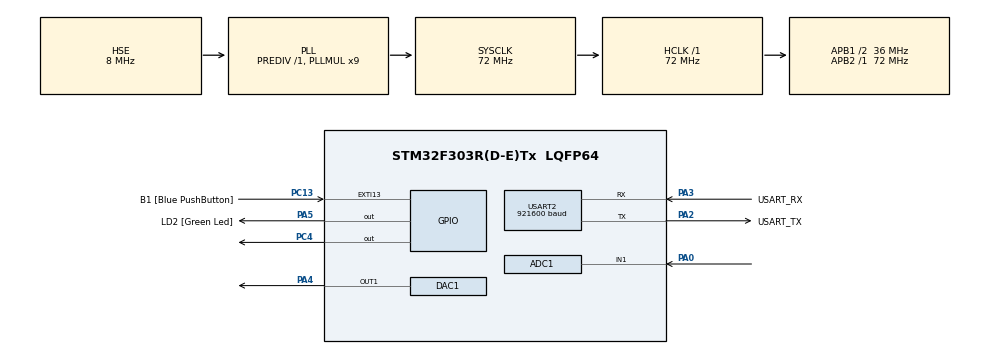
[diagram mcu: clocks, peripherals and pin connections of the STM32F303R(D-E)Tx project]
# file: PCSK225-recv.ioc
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ADC1.Channel-0\#ChannelRegularConversion=ADC_CHANNEL_1
ADC1.ClockPrescaler=ADC_CLOCK_SYNC_PCLK_DIV1
ADC1.ContinuousConvMode=DISABLE
ADC1.DMAContinuousRequests=ENABLE
ADC1.ExternalTrigConv=ADC_EXTERNALTRIGCONV_T3_TRGO
ADC1.NbrOfConversionFlag=1
ADC1.Offset-0\#ChannelRegularConversion=0
ADC1.OffsetNumber-0\#ChannelRegularConversion=ADC_OFFSET_NONE
ADC1.Rank-0\#ChannelRegularConversion=1
ADC1.Resolution=ADC_RESOLUTION_12B
ADC1.SamplingTime-0\#ChannelRegularConversion=ADC_SAMPLETIME_19CYCLES_5
ADC1.master=1
DAC1.DAC_Trigger=DAC_TRIGGER_T2_TRGO
Dma.ADC1.0.Direction=DMA_PERIPH_TO_MEMORY
Dma.ADC1.0.Instance=DMA1_Channel1
Dma.ADC1.0.MemDataAlignment=DMA_MDATAALIGN_HALFWORD
Dma.ADC1.0.MemInc=DMA_MINC_ENABLE
Dma.ADC1.0.Mode=DMA_CIRCULAR
Dma.ADC1.0.PeriphDataAlignment=DMA_PDATAALIGN_HALFWORD
Dma.ADC1.0.PeriphInc=DMA_PINC_DISABLE
Dma.ADC1.0.Priority=DMA_PRIORITY_LOW
Dma.DAC1_CH1.1.Direction=DMA_MEMORY_TO_PERIPH
Dma.DAC1_CH1.1.Instance=DMA1_Channel3
Dma.DAC1_CH1.1.MemDataAlignment=DMA_MDATAALIGN_HALFWORD
Dma.DAC1_CH1.1.MemInc=DMA_MINC_ENABLE
Dma.DAC1_CH1.1.Mode=DMA_CIRCULAR
Dma.DAC1_CH1.1.PeriphDataAlignment=DMA_PDATAALIGN_HALFWORD
Dma.DAC1_CH1.1.PeriphInc=DMA_PINC_DISABLE
Dma.DAC1_CH1.1.Priority=DMA_PRIORITY_LOW
Dma.Request0=ADC1
Dma.Request1=DAC1_CH1
Dma.Request2=USART2_TX
Dma.USART2_TX.2.Direction=DMA_MEMORY_TO_PERIPH
Dma.USART2_TX.2.Instance=DMA1_Channel7
Dma.USART2_TX.2.MemDataAlignment=DMA_MDATAALIGN_BYTE
Dma.USART2_TX.2.MemInc=DMA_MINC_ENABLE
Dma.USART2_TX.2.Mode=DMA_NORMAL
Dma.USART2_TX.2.PeriphDataAlignment=DMA_PDATAALIGN_BYTE
Dma.USART2_TX.2.PeriphInc=DMA_PINC_DISABLE
Dma.USART2_TX.2.Priority=DMA_PRIORITY_LOW
Mcu.Family=STM32F3
Mcu.Name=STM32F303R(D-E)Tx
Mcu.Package=LQFP64
NVIC.DMA1_Channel1_IRQn=true\:0\:0\:false\:false\:true\:false\:true\:true
NVIC.DMA1_Channel3_IRQn=true\:0\:0\:false\:false\:true\:false\:true\:true
NVIC.DMA1_Channel7_IRQn=true\:0\:0\:false\:false\:true\:false\:true\:true
NVIC.PriorityGroup=NVIC_PRIORITYGROUP_0
NVIC.USART2_IRQn=true\:0\:0\:false\:false\:true\:true\:true\:true
PA0.Mode=IN1-Single-Ended
PA0.Signal=ADC1_IN1
PA13.GPIO_Label=TMS
PA13.Mode=Serial_Wire
PA13.Signal=SYS_JTMS-SWDIO
PA14.GPIO_Label=TCK
PA14.Mode=Serial_Wire
PA14.Signal=SYS_JTCK-SWCLK
PA2.GPIO_Label=USART_TX
PA2.GPIO_Mode=GPIO_MODE_AF_PP
PA2.GPIO_PuPd=GPIO_NOPULL
PA2.GPIO_Speed=GPIO_SPEED_FREQ_LOW
PA2.Mode=Asynchronous
PA2.Signal=USART2_TX
PA3.GPIO_Label=USART_RX
PA3.GPIO_Mode=GPIO_MODE_AF_PP
PA3.GPIO_PuPd=GPIO_NOPULL
PA3.GPIO_Speed=GPIO_SPEED_FREQ_LOW
PA3.Mode=Asynchronous
PA3.Signal=USART2_RX
PA4.Signal=COMP_DAC11_group
PA5.GPIO_Label=LD2 [Green Led]
PA5.GPIO_Mode=GPIO_MODE_OUTPUT_PP
PA5.GPIO_PuPd=GPIO_NOPULL
PA5.GPIO_Speed=GPIO_SPEED_FREQ_LOW
PA5.Signal=GPIO_Output
PB3.GPIO_Label=SWO
PB3.Signal=SYS_JTDO-TRACESWO
PC13.GPIO_Label=B1 [Blue PushButton]
PC13.GPIO_ModeDefaultEXTI=GPIO_MODE_IT_FALLING
PC13.Signal=GPXTI13
PC14-OSC32_IN.Mode=LSE-External-Oscillator
PC14-OSC32_IN.Signal=RCC_OSC32_IN
PC15-OSC32_OUT.Mode=LSE-External-Oscillator
PC15-OSC32_OUT.Signal=RCC_OSC32_OUT
PC4.Signal=GPIO_Output
PF0-OSC_IN.Mode=HSE-External-Clock-Source
PF0-OSC_IN.Signal=RCC_OSC_IN
PF1-OSC_OUT.Signal=RCC_OSC_OUT
ProjectManager.HeapSize=0x200
ProjectManager.StackSize=0x400
ProjectManager.TargetToolchain=STM32CubeIDE
RCC.AHBFreq_Value=72000000
RCC.APB1CLKDivider=RCC_HCLK_DIV2
RCC.APB1Freq_Value=36000000
RCC.APB1TimFreq_Value=72000000
RCC.APB2Freq_Value=72000000
RCC.APB2TimFreq_Value=72000000
RCC.CortexFreq_Value=72000000
RCC.HCLKFreq_Value=72000000
RCC.HSE_VALUE=8000000
RCC.HSI_VALUE=8000000
RCC.PLLM=8
RCC.PLLMUL=RCC_PLL_MUL9
RCC.PLLN=336
RCC.PLLP=RCC_PLLP_DIV4
RCC.PLLQ=7
RCC.PLLSourceVirtual=RCC_PLLSOURCE_HSE
RCC.RCC_PLLsource_Clock_Source_FROM_HSE=RCC_HSE_PREDIV_DIV2
RCC.SYSCLKFreq_VALUE=72000000
RCC.SYSCLKSourceVirtual=RCC_SYSCLKSOURCE_PLLCLK
RCC.USBFreq_Value=72000000
SH.COMP_DAC11_group.0=DAC1_OUT1,DAC_OUT1
TIM2.Period=8191
TIM2.TIM_MasterOutputTrigger=TIM_TRGO_UPDATE
TIM3.Period=31
TIM3.TIM_MasterOutputTrigger=TIM_TRGO_UPDATE
USART2.BaudRate=921600
USART2.VirtualMode-Asynchronous=VM_ASYNC
VP_TIM2_VS_ClockSourceINT.Mode=Internal
VP_TIM3_VS_ClockSourceINT.Mode=Internal
board=NUCLEO-F303RE

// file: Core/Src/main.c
/* USER CODE BEGIN Header */
/**
  ******************************************************************************
  * @file           : main.c
  * @brief          : Main program body
  ******************************************************************************
  * @attention
  *
  * Copyright (c) 2025 STMicroelectronics.
  * All rights reserved.
  *
  * This software is licensed under terms that can be found in the LICENSE file
  * in the root directory of this software component.
  * If no LICENSE file comes with this software, it is provided AS-IS.
  *
  ******************************************************************************
  */
/* USER CODE END Header */
#include "main.h"

/* USER CODE BEGIN Includes */
#include <math.h>

#include "iq.h"
#include "mixers/ifMix.h"
#include "detectors/am.h"
#include "detectors/arctg2.h"
#include "detectors/pll.h"

#include "filters/dcOffset.h"

/* USER CODE END Includes */

/* USER CODE BEGIN PD */

// rf sample rate
// cpu freq / ADC cycles per sample -> ~2.25 MSPS
#define RF_SAMPLE_RATE 72000000 / 32

#define INPUT_SAMPLES 8192
#define INPUT_HALF_SAMPLES INPUT_SAMPLES/2

#define RF_IF_DECIMATION_POW2	8	//=256

#define AF_SAMPLES (INPUT_SAMPLES>>RF_IF_DECIMATION_POW2)
#define AF_HALF_SAMPLES AF_SAMPLES/2

#define OUTPUT_SAMPLES 128
#define OUTPUT_HALF_SAMPLES OUTPUT_SAMPLES/2

#define UART_BUFFER (AF_HALF_SAMPLES*4+2)

/* USER CODE END PD */

ADC_HandleTypeDef hadc1;
DMA_HandleTypeDef hdma_adc1;

DAC_HandleTypeDef hdac1;
DMA_HandleTypeDef hdma_dac1_ch1;

TIM_HandleTypeDef htim2;
TIM_HandleTypeDef htim3;

UART_HandleTypeDef huart2;
DMA_HandleTypeDef hdma_usart2_tx;

void SystemClock_Config(void);
static void MX_GPIO_Init(void);
static void MX_DMA_Init(void);
static void MX_USART2_UART_Init(void);
static void MX_ADC1_Init(void);
static void MX_DAC1_Init(void);
static void MX_TIM2_Init(void);
static void MX_TIM3_Init(void);
/* USER CODE BEGIN PFP */

uint16_t dacOut[OUTPUT_SAMPLES] = {0};
uint16_t rf[INPUT_SAMPLES];

uint16_t *rfFrameBegin = rf;
uint16_t *rfFrameHalf = &rf[INPUT_HALF_SAMPLES];
uint16_t *rfFrameEnd = &rf[INPUT_SAMPLES];

volatile size_t ifBufferLastUpdate = 0xFFFFFFFF;
size_t ifBufferPrevUpdate = 0xFFFFFFFF;

//AF I and Q
struct IQ af_IQ[AF_SAMPLES];
struct IQ *afFrameBegin = af_IQ;
struct IQ *afFrameHalf = &af_IQ[AF_HALF_SAMPLES];
struct IQ *afFrameEnd = &af_IQ[AF_SAMPLES];

struct IQ *afCurrentFrame = af_IQ;

struct IQ filteredIQ;

size_t dacOutPushed = 0;

uint8_t txData[UART_BUFFER] = {0};
size_t txDataPushed = 0;

#define DC_OFFSET_FILTER_WINDOW_ORDER 7		//128
uint16_t dcOffset;

/* USER CODE END PFP */

int main(void)
{

  /* MCU Configuration--------------------------------------------------------*/

  /* Reset of all peripherals, Initializes the Flash interface and the Systick. */
  HAL_Init();

  /* Configure the system clock */
  SystemClock_Config();

  /* Initialize all configured peripherals */
  MX_GPIO_Init();
  MX_DMA_Init();
  MX_USART2_UART_Init();
  MX_ADC1_Init();
  MX_DAC1_Init();
  MX_TIM2_Init();
  MX_TIM3_Init();
  /* USER CODE BEGIN 2 */

  HAL_DAC_Start_DMA(&hdac1, DAC_CHANNEL_1, (uint32_t*)dacOut, OUTPUT_SAMPLES, DAC_ALIGN_12B_R);
  HAL_TIM_Base_Start(&htim2);

  HAL_ADC_Start_DMA(&hadc1,(uint32_t*)rf,INPUT_SAMPLES);
  HAL_TIM_Base_Start(&htim3);

  //init filters
  dcOffset_init(DC_OFFSET_FILTER_WINDOW_ORDER);
  filteredIQ.i = 0;
  filteredIQ.q = 0;

  //init mixers
  ifMix_init(RF_SAMPLE_RATE,RF_IF_DECIMATION_POW2,&dcOffset);
  ifMix_setFreq(225000);

  //init detectors
  amDetector_init();
  pll_init(RF_SAMPLE_RATE,1000);

  /* USER CODE END 2 */

  /* Infinite loop */
  while (1)
  {

    /* USER CODE BEGIN 3 */

	  if (ifBufferLastUpdate != 0xFFFFFFFF && ifBufferLastUpdate != ifBufferPrevUpdate) {
		  HAL_GPIO_WritePin(GPIOC, GPIO_PIN_4, GPIO_PIN_SET);

		  struct IQ *afBufferBegin = &af_IQ[ifBufferLastUpdate];
		  struct IQ *afBufferEnd = &af_IQ[ifBufferLastUpdate+AF_HALF_SAMPLES];

		  // update dcOffset
		  dcOffset = dcOffset_filter(*rfFrameBegin);

		  txData[0] = 0xFF;
		  txData[1] = 0xFF;
		  uint8_t *txBuffer = txData+2;

		  struct IQ *afBuffer = afBufferBegin;
		  while(afBuffer < afBufferEnd) {

			  uint16_t i_val = (uint16_t)(afBuffer->i >> 6);
			  uint16_t q_val = (uint16_t)(afBuffer->q >> 6);

			  if(i_val == 0xFFFF) i_val = 0xFFFE;
			  if(q_val == 0xFFFF) q_val = 0xFFFE;

			  txBuffer[0] = (i_val >> 8) & 0xFF;
			  txBuffer[1] = i_val & 0xFF;
			  txBuffer[2] = (q_val >> 8) & 0xFF;
			  txBuffer[3] = q_val & 0xFF;
			  txBuffer+=4;

			  //filter IQ
			  filteredIQ.i += (afBuffer->i - filteredIQ.i) >> 2;
			  filteredIQ.q += (afBuffer->q - filteredIQ.q) >> 2;

			  int32_t amSample;
			  amDetector_detectSample(&filteredIQ,&amSample);
			  dacOut[dacOutPushed] = (amSample) & 0xFFFF;
			  dacOutPushed++;
			  if(dacOutPushed >= OUTPUT_SAMPLES) dacOutPushed = 0;

			  afBuffer++;
		  }

		  //push compressed audio to UART
		  while (huart2.gState != HAL_UART_STATE_READY);
		  HAL_UART_Transmit_DMA(&huart2,txData,sizeof(txData));

		  //AF buffer hop and rollover
		  afCurrentFrame += AF_HALF_SAMPLES;
		  if(afCurrentFrame >= afFrameEnd) afCurrentFrame = afFrameBegin;

		  //IF buffer swap to wait from next update from ISR
		  ifBufferPrevUpdate = ifBufferLastUpdate;

		  HAL_GPIO_WritePin(GPIOC, GPIO_PIN_4, GPIO_PIN_RESET);

	  }

  }
  /* USER CODE END 3 */
}

void SystemClock_Config(void)
{
  RCC_OscInitTypeDef RCC_OscInitStruct = {0};
  RCC_ClkInitTypeDef RCC_ClkInitStruct = {0};
  RCC_PeriphCLKInitTypeDef PeriphClkInit = {0};

  /** Initializes the RCC Oscillators according to the specified parameters
  * in the RCC_OscInitTypeDef structure.
  */
  RCC_OscInitStruct.OscillatorType = RCC_OSCILLATORTYPE_HSE;
  RCC_OscInitStruct.HSEState = RCC_HSE_BYPASS;
  RCC_OscInitStruct.HSIState = RCC_HSI_ON;
  RCC_OscInitStruct.PLL.PLLState = RCC_PLL_ON;
  RCC_OscInitStruct.PLL.PLLSource = RCC_PLLSOURCE_HSE;
  RCC_OscInitStruct.PLL.PLLMUL = RCC_PLL_MUL9;
  RCC_OscInitStruct.PLL.PREDIV = RCC_PREDIV_DIV1;
  if (HAL_RCC_OscConfig(&RCC_OscInitStruct) != HAL_OK)
  {
    Error_Handler();
  }

  /** Initializes the CPU, AHB and APB buses clocks
  */
  RCC_ClkInitStruct.ClockType = RCC_CLOCKTYPE_HCLK|RCC_CLOCKTYPE_SYSCLK
                              |RCC_CLOCKTYPE_PCLK1|RCC_CLOCKTYPE_PCLK2;
  RCC_ClkInitStruct.SYSCLKSource = RCC_SYSCLKSOURCE_PLLCLK;
  RCC_ClkInitStruct.AHBCLKDivider = RCC_SYSCLK_DIV1;
  RCC_ClkInitStruct.APB1CLKDivider = RCC_HCLK_DIV2;
  RCC_ClkInitStruct.APB2CLKDivider = RCC_HCLK_DIV1;

  if (HAL_RCC_ClockConfig(&RCC_ClkInitStruct, FLASH_LATENCY_2) != HAL_OK)
  {
    Error_Handler();
  }
  PeriphClkInit.PeriphClockSelection = RCC_PERIPHCLK_USART2|RCC_PERIPHCLK_TIM2
                              |RCC_PERIPHCLK_TIM34;
  PeriphClkInit.Usart2ClockSelection = RCC_USART2CLKSOURCE_PCLK1;
  PeriphClkInit.Tim2ClockSelection = RCC_TIM2CLK_HCLK;
  PeriphClkInit.Tim34ClockSelection = RCC_TIM34CLK_HCLK;
  if (HAL_RCCEx_PeriphCLKConfig(&PeriphClkInit) != HAL_OK)
  {
    Error_Handler();
  }
}

static void MX_ADC1_Init(void)
{

  ADC_MultiModeTypeDef multimode = {0};
  ADC_ChannelConfTypeDef sConfig = {0};

  /** Common config
  */
  hadc1.Instance = ADC1;
  hadc1.Init.ClockPrescaler = ADC_CLOCK_SYNC_PCLK_DIV1;
  hadc1.Init.Resolution = ADC_RESOLUTION_12B;
  hadc1.Init.ScanConvMode = ADC_SCAN_DISABLE;
  hadc1.Init.ContinuousConvMode = DISABLE;
  hadc1.Init.DiscontinuousConvMode = DISABLE;
  hadc1.Init.ExternalTrigConvEdge = ADC_EXTERNALTRIGCONVEDGE_RISING;
  hadc1.Init.ExternalTrigConv = ADC_EXTERNALTRIGCONV_T3_TRGO;
  hadc1.Init.DataAlign = ADC_DATAALIGN_RIGHT;
  hadc1.Init.NbrOfConversion = 1;
  hadc1.Init.DMAContinuousRequests = ENABLE;
  hadc1.Init.EOCSelection = ADC_EOC_SINGLE_CONV;
  hadc1.Init.LowPowerAutoWait = DISABLE;
  hadc1.Init.Overrun = ADC_OVR_DATA_OVERWRITTEN;
  if (HAL_ADC_Init(&hadc1) != HAL_OK)
  {
    Error_Handler();
  }

  /** Configure the ADC multi-mode
  */
  multimode.Mode = ADC_MODE_INDEPENDENT;
  if (HAL_ADCEx_MultiModeConfigChannel(&hadc1, &multimode) != HAL_OK)
  {
    Error_Handler();
  }

  /** Configure Regular Channel
  */
  sConfig.Channel = ADC_CHANNEL_1;
  sConfig.Rank = ADC_REGULAR_RANK_1;
  sConfig.SingleDiff = ADC_SINGLE_ENDED;
  sConfig.SamplingTime = ADC_SAMPLETIME_19CYCLES_5;
  sConfig.OffsetNumber = ADC_OFFSET_NONE;
  sConfig.Offset = 0;
  if (HAL_ADC_ConfigChannel(&hadc1, &sConfig) != HAL_OK)
  {
    Error_Handler();
  }

}

static void MX_DAC1_Init(void)
{

  DAC_ChannelConfTypeDef sConfig = {0};

  /** DAC Initialization
  */
  hdac1.Instance = DAC1;
  if (HAL_DAC_Init(&hdac1) != HAL_OK)
  {
    Error_Handler();
  }

  /** DAC channel OUT1 config
  */
  sConfig.DAC_Trigger = DAC_TRIGGER_T2_TRGO;
  sConfig.DAC_OutputBuffer = DAC_OUTPUTBUFFER_ENABLE;
  if (HAL_DAC_ConfigChannel(&hdac1, &sConfig, DAC_CHANNEL_1) != HAL_OK)
  {
    Error_Handler();
  }

}

static void MX_TIM2_Init(void)
{

  TIM_ClockConfigTypeDef sClockSourceConfig = {0};
  TIM_MasterConfigTypeDef sMasterConfig = {0};

  htim2.Instance = TIM2;
  htim2.Init.Prescaler = 0;
  htim2.Init.CounterMode = TIM_COUNTERMODE_UP;
  htim2.Init.Period = 8191;
  htim2.Init.ClockDivision = TIM_CLOCKDIVISION_DIV1;
  htim2.Init.AutoReloadPreload = TIM_AUTORELOAD_PRELOAD_DISABLE;
  if (HAL_TIM_Base_Init(&htim2) != HAL_OK)
  {
    Error_Handler();
  }
  sClockSourceConfig.ClockSource = TIM_CLOCKSOURCE_INTERNAL;
  if (HAL_TIM_ConfigClockSource(&htim2, &sClockSourceConfig) != HAL_OK)
  {
    Error_Handler();
  }
  sMasterConfig.MasterOutputTrigger = TIM_TRGO_UPDATE;
  sMasterConfig.MasterSlaveMode = TIM_MASTERSLAVEMODE_DISABLE;
  if (HAL_TIMEx_MasterConfigSynchronization(&htim2, &sMasterConfig) != HAL_OK)
  {
    Error_Handler();
  }

}

static void MX_TIM3_Init(void)
{

  TIM_ClockConfigTypeDef sClockSourceConfig = {0};
  TIM_MasterConfigTypeDef sMasterConfig = {0};

  htim3.Instance = TIM3;
  htim3.Init.Prescaler = 0;
  htim3.Init.CounterMode = TIM_COUNTERMODE_UP;
  htim3.Init.Period = 31;
  htim3.Init.ClockDivision = TIM_CLOCKDIVISION_DIV1;
  htim3.Init.AutoReloadPreload = TIM_AUTORELOAD_PRELOAD_DISABLE;
  if (HAL_TIM_Base_Init(&htim3) != HAL_OK)
  {
    Error_Handler();
  }
  sClockSourceConfig.ClockSource = TIM_CLOCKSOURCE_INTERNAL;
  if (HAL_TIM_ConfigClockSource(&htim3, &sClockSourceConfig) != HAL_OK)
  {
    Error_Handler();
  }
  sMasterConfig.MasterOutputTrigger = TIM_TRGO_UPDATE;
  sMasterConfig.MasterSlaveMode = TIM_MASTERSLAVEMODE_DISABLE;
  if (HAL_TIMEx_MasterConfigSynchronization(&htim3, &sMasterConfig) != HAL_OK)
  {
    Error_Handler();
  }

}

static void MX_USART2_UART_Init(void)
{

  huart2.Instance = USART2;
  huart2.Init.BaudRate = 921600;
  huart2.Init.WordLength = UART_WORDLENGTH_8B;
  huart2.Init.StopBits = UART_STOPBITS_1;
  huart2.Init.Parity = UART_PARITY_NONE;
  huart2.Init.Mode = UART_MODE_TX_RX;
  huart2.Init.HwFlowCtl = UART_HWCONTROL_NONE;
  huart2.Init.OverSampling = UART_OVERSAMPLING_16;
  huart2.Init.OneBitSampling = UART_ONE_BIT_SAMPLE_DISABLE;
  huart2.AdvancedInit.AdvFeatureInit = UART_ADVFEATURE_NO_INIT;
  if (HAL_UART_Init(&huart2) != HAL_OK)
  {
    Error_Handler();
  }

}

static void MX_DMA_Init(void)
{

  /* DMA controller clock enable */
  __HAL_RCC_DMA1_CLK_ENABLE();

  /* DMA interrupt init */
  /* DMA1_Channel1_IRQn interrupt configuration */
  HAL_NVIC_SetPriority(DMA1_Channel1_IRQn, 0, 0);
  HAL_NVIC_EnableIRQ(DMA1_Channel1_IRQn);
  /* DMA1_Channel3_IRQn interrupt configuration */
  HAL_NVIC_SetPriority(DMA1_Channel3_IRQn, 0, 0);
  HAL_NVIC_EnableIRQ(DMA1_Channel3_IRQn);
  /* DMA1_Channel7_IRQn interrupt configuration */
  HAL_NVIC_SetPriority(DMA1_Channel7_IRQn, 0, 0);
  HAL_NVIC_EnableIRQ(DMA1_Channel7_IRQn);

}

static void MX_GPIO_Init(void)
{
  GPIO_InitTypeDef GPIO_InitStruct = {0};

  /* GPIO Ports Clock Enable */
  __HAL_RCC_GPIOC_CLK_ENABLE();
  __HAL_RCC_GPIOF_CLK_ENABLE();
  __HAL_RCC_GPIOA_CLK_ENABLE();
  __HAL_RCC_GPIOB_CLK_ENABLE();

  /*Configure GPIO pin Output Level */
  HAL_GPIO_WritePin(LD2_GPIO_Port, LD2_Pin, GPIO_PIN_RESET);

  /*Configure GPIO pin Output Level */
  HAL_GPIO_WritePin(GPIOC, GPIO_PIN_4, GPIO_PIN_RESET);

  /*Configure GPIO pin : B1_Pin */
  GPIO_InitStruct.Pin = B1_Pin;
  GPIO_InitStruct.Mode = GPIO_MODE_IT_FALLING;
  GPIO_InitStruct.Pull = GPIO_NOPULL;
  HAL_GPIO_Init(B1_GPIO_Port, &GPIO_InitStruct);

  /*Configure GPIO pin : LD2_Pin */
  GPIO_InitStruct.Pin = LD2_Pin;
  GPIO_InitStruct.Mode = GPIO_MODE_OUTPUT_PP;
  GPIO_InitStruct.Pull = GPIO_NOPULL;
  GPIO_InitStruct.Speed = GPIO_SPEED_FREQ_LOW;
  HAL_GPIO_Init(LD2_GPIO_Port, &GPIO_InitStruct);

  /*Configure GPIO pin : PC4 */
  GPIO_InitStruct.Pin = GPIO_PIN_4;
  GPIO_InitStruct.Mode = GPIO_MODE_OUTPUT_PP;
  GPIO_InitStruct.Pull = GPIO_NOPULL;
  GPIO_InitStruct.Speed = GPIO_SPEED_FREQ_LOW;
  HAL_GPIO_Init(GPIOC, &GPIO_InitStruct);

}

/* USER CODE BEGIN 4 */

// when half or full buffer

// Called when buffer is completely filled
void HAL_ADC_ConvHalfCpltCallback(ADC_HandleTypeDef* hadc) {
	ifMix_Mix(rfFrameBegin, rfFrameHalf,afFrameBegin);
	ifBufferLastUpdate = 0;

}
void HAL_ADC_ConvCpltCallback(ADC_HandleTypeDef* hadc) {
	ifMix_Mix(rfFrameHalf,rfFrameEnd,afFrameHalf);
	ifBufferLastUpdate = AF_HALF_SAMPLES;
}
/* USER CODE END 4 */

void Error_Handler(void)
{
  __disable_irq();
  while (1)
  {
  }
}
